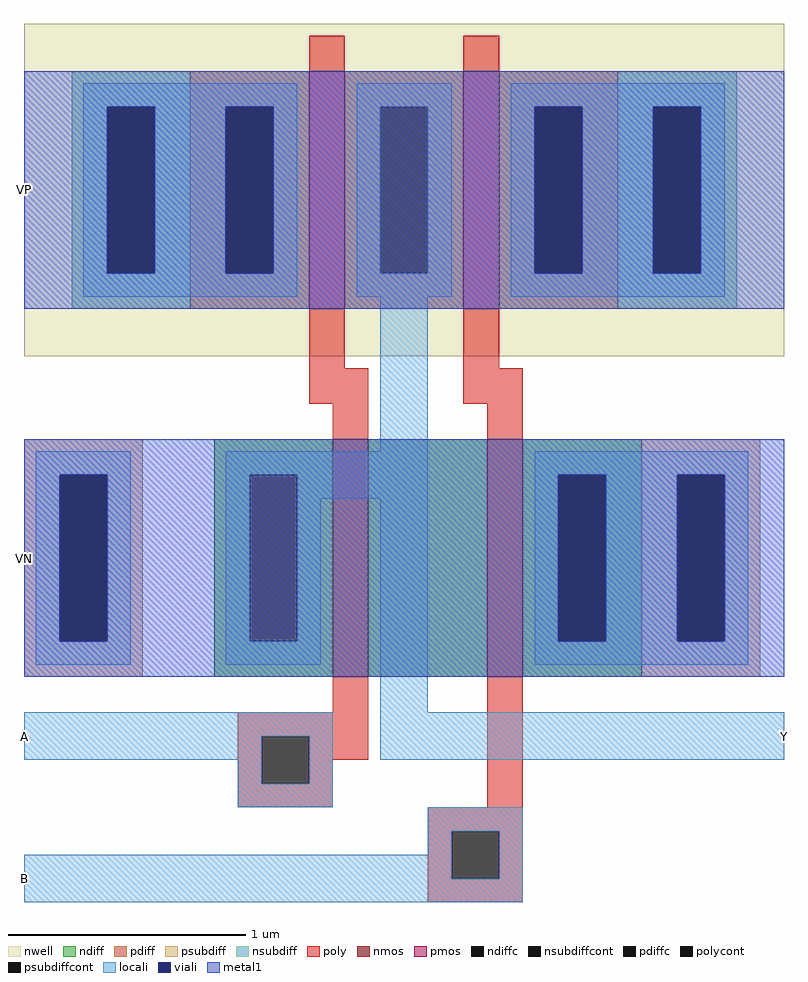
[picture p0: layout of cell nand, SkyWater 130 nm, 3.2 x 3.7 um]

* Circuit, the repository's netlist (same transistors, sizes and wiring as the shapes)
* SPICE3 file created from nand.ext - technology: sky130A

X0 VN B a_50_0# VN sky130_fd_pr__nfet_01v8 ad=0.5 pd=3 as=0.25 ps=1.5 w=1 l=0.15
X1 Y A VP VP sky130_fd_pr__pfet_01v8 ad=0.25 pd=1.5 as=0.5 ps=3 w=1 l=0.15
X2 a_50_0# A Y VN sky130_fd_pr__nfet_01v8 ad=0.25 pd=1.5 as=0.5 ps=3 w=1 l=0.15
X3 VP B Y VP sky130_fd_pr__pfet_01v8 ad=0.5 pd=3 as=0.25 ps=1.5 w=1 l=0.15
.end

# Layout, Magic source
magic
tech sky130A
<< nwell >>
rect -120 135 200 275
<< nmos >>
rect 10 0 25 100
rect 75 0 90 100
<< pmos >>
rect 0 155 15 255
rect 65 155 80 255
<< ndiff >>
rect -40 85 10 100
rect -40 15 -25 85
rect -5 15 10 85
rect -40 0 10 15
rect 25 0 75 100
rect 90 85 140 100
rect 90 15 105 85
rect 125 15 140 85
rect 90 0 140 15
<< pdiff >>
rect -50 240 0 255
rect -50 170 -35 240
rect -15 170 0 240
rect -50 155 0 170
rect 15 240 65 255
rect 15 170 30 240
rect 50 170 65 240
rect 15 155 65 170
rect 80 240 130 255
rect 80 170 95 240
rect 115 170 130 240
rect 80 155 130 170
<< ndiffc >>
rect -25 15 -5 85
rect 105 15 125 85
<< pdiffc >>
rect -35 170 -15 240
rect 30 170 50 240
rect 95 170 115 240
<< psubdiff >>
rect -120 85 -70 100
rect -120 15 -105 85
rect -85 15 -70 85
rect -120 0 -70 15
rect 140 85 190 100
rect 140 15 155 85
rect 175 15 190 85
rect 140 0 190 15
<< nsubdiff >>
rect -100 240 -50 255
rect -100 170 -85 240
rect -65 170 -50 240
rect -100 155 -50 170
rect 130 240 180 255
rect 130 170 145 240
rect 165 170 180 240
rect 130 155 180 170
<< psubdiffcont >>
rect -105 15 -85 85
rect 155 15 175 85
<< nsubdiffcont >>
rect -85 170 -65 240
rect 145 170 165 240
<< poly >>
rect 0 255 15 270
rect 65 255 80 270
rect 0 130 15 155
rect 65 130 80 155
rect 0 115 25 130
rect 65 115 90 130
rect 10 100 25 115
rect 75 100 90 115
rect 10 -15 25 0
rect -30 -25 25 -15
rect -30 -45 -20 -25
rect 0 -35 25 -25
rect 0 -45 10 -35
rect -30 -55 10 -45
rect 75 -55 90 0
rect 50 -65 90 -55
rect 50 -85 60 -65
rect 80 -85 90 -65
rect 50 -95 90 -85
<< polycont >>
rect -20 -45 0 -25
rect 60 -85 80 -65
<< locali >>
rect -95 240 -5 250
rect -95 170 -85 240
rect -65 170 -35 240
rect -15 170 -5 240
rect -95 160 -5 170
rect 20 240 60 250
rect 20 170 30 240
rect 50 170 60 240
rect 20 160 60 170
rect 85 240 175 250
rect 85 170 95 240
rect 115 170 145 240
rect 165 170 175 240
rect 85 160 175 170
rect 30 95 50 160
rect -115 85 -75 95
rect -115 15 -105 85
rect -85 15 -75 85
rect -115 5 -75 15
rect -35 85 50 95
rect -35 15 -25 85
rect -5 75 50 85
rect -5 15 5 75
rect -35 5 5 15
rect 30 -15 50 75
rect 95 85 185 95
rect 95 15 105 85
rect 125 15 155 85
rect 175 15 185 85
rect 95 5 185 15
rect -120 -25 10 -15
rect -120 -35 -20 -25
rect -30 -45 -20 -35
rect 0 -45 10 -25
rect 30 -35 200 -15
rect -30 -55 10 -45
rect 50 -65 90 -55
rect 50 -75 60 -65
rect -120 -85 60 -75
rect 80 -85 90 -65
rect -120 -95 90 -85
<< viali >>
rect -85 170 -65 240
rect -35 170 -15 240
rect 95 170 115 240
rect 145 170 165 240
rect -105 15 -85 85
rect 105 15 125 85
rect 155 15 175 85
<< metal1 >>
rect -120 240 200 255
rect -120 170 -85 240
rect -65 170 -35 240
rect -15 170 95 240
rect 115 170 145 240
rect 165 170 200 240
rect -120 155 200 170
rect -120 85 200 100
rect -120 15 -105 85
rect -85 15 105 85
rect 125 15 155 85
rect 175 15 200 85
rect -120 0 200 15
<< labels >>
rlabel locali -120 -25 -120 -25 7 A
port 1 w
rlabel locali -120 -85 -120 -85 7 B
port 2 w
rlabel locali 200 -25 200 -25 3 Y
port 3 e
rlabel metal1 -120 205 -120 205 7 VP
port 4 w
rlabel metal1 -120 50 -120 50 7 VN
port 5 w
<< end >>
